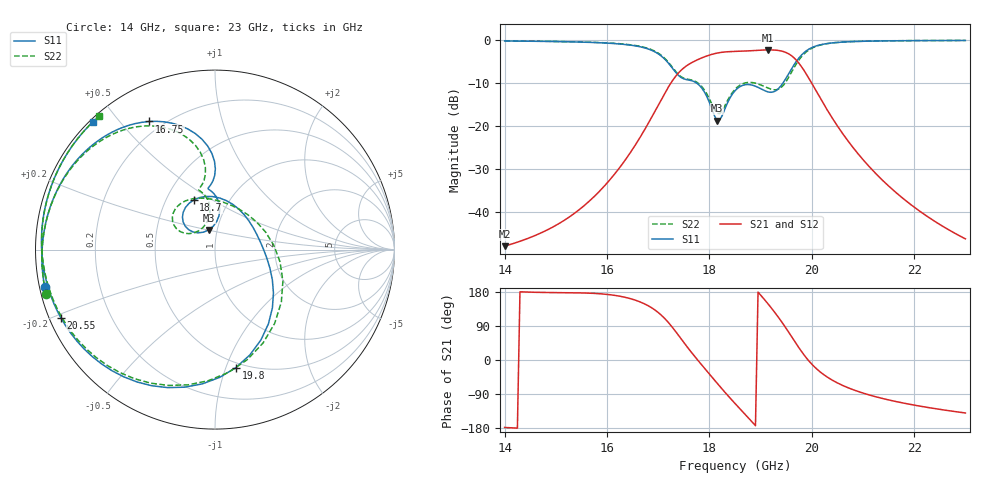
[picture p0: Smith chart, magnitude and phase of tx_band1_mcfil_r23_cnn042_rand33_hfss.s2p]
! Touchstone file exported from HFSS 3D Layout Design 2026.1.0
!  File:  D:/Work/SIM/ADS_AUTO_SIM/projects/RFSOC_RF/TX_Fillter.aedt
!  Generated:  01:39:21 AM Aug 31, 2026
!  Design:  TX_BAND1_MCFIL_R23_CNN042
!  Project:  TX_Fillter
# GHz S MA R 50.000000
! Terminal data exported
! Port[1] = Port1
! Port[2] = Port2
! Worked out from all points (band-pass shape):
!   181 points, 14 GHz to 23 GHz, reference 50 ohm
!   highest |S21| = -2.33 dB at 19.15 GHz (marker M1); lowest = -48.0 dB at 14 GHz (marker M2)
!   |S21| within 3 dB of the highest: 17.65 GHz to 19.74 GHz (2.091 GHz wide, 11.2 % of centre)
!   lowest |S11| = -18.8 dB at 18.15 GHz (marker M3), VSWR 1.26, Z = 45.6 + j10.1 ohm
!   |S11| at or under -10 dB: 17.74 GHz to 19.44 GHz (1.694 GHz wide, 9.11 % of centre)
!   |S22| runs from -17.2 to -0.1 dB; largest |S21 - S12| = 1.3e-14
!   S11 on the Smith chart (normalised r, x): 14 GHz: 0.01, -0.11; 16.75 GHz: 0.15, +0.60; 18.7 GHz: 0.69, +0.42; 19.8 GHz: 0.46, -1.08; 20.55 GHz: 0.03, -0.21; 23 GHz: 0.01, +0.43
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14  0.9717 -167.7  0.003964 -178.0  0.003964 -178.0  0.9731 -165.4
15.5  0.9426 161.2  0.01106 177.0  0.01106 177.0  0.9462 164.6
16.2  0.9012 140.8  0.02996 169.5  0.02996 169.5  0.9074 145.1
16.75  0.8028 117.3  0.09331 147.0  0.09331 147.0  0.813 122.8
17  0.6891 102.7  0.1736 125.3  0.1736 125.3  0.7016 108.9
17.25  0.492 90.3  0.3159 90.8  0.3159 90.8  0.5042 97.2
17.5  0.3516 95.3  0.4721 46.4  0.4721 46.4  0.3578 103.1
17.85  0.2755 86.5  0.6169 -13.0  0.6169 -13.0  0.2869 98.8
18.15  0.1152 107.6  0.7022 -61.1  0.7022 -61.1  0.1398 118.9
18.3  0.1559 141.1  0.7235 -84.6  0.7235 -84.6  0.1708 148.7
18.5  0.2558 135.2  0.7347 -114.8  0.7347 -114.8  0.2657 149.3
18.7  0.3008 113.2  0.742 -143.9  0.742 -143.9  0.3158 134.9
18.95  0.28 76.8  0.7568 179.1  0.7568 179.1  0.3067 111.6
19.15  0.2475 40.1  0.7651 147.3  0.7651 147.3  0.2739 87.2
19.45  0.3231 -18.7  0.7297 93.2  0.7297 93.2  0.2988 18.9
19.65  0.5094 -54.2  0.6205 52.3  0.6205 52.3  0.4714 -38.4
19.8  0.6674 -79.9  0.4866 22.3  0.4866 22.3  0.639 -73.7
20  0.8128 -108.9  0.3119 -10.9  0.3119 -10.9  0.7994 -108.8
20.25  0.8975 -134.9  0.172 -40.3  0.172 -40.3  0.8941 -137.7
20.55  0.9388 -155.9  0.09003 -63.8  0.09003 -63.8  0.9395 -159.8
21.5  0.975 166.4  0.01991 -105.3  0.01991 -105.3  0.9765 162.7
23  0.9846 133.8  0.004821 -139.8  0.004821 -139.8  0.9851 131.1
